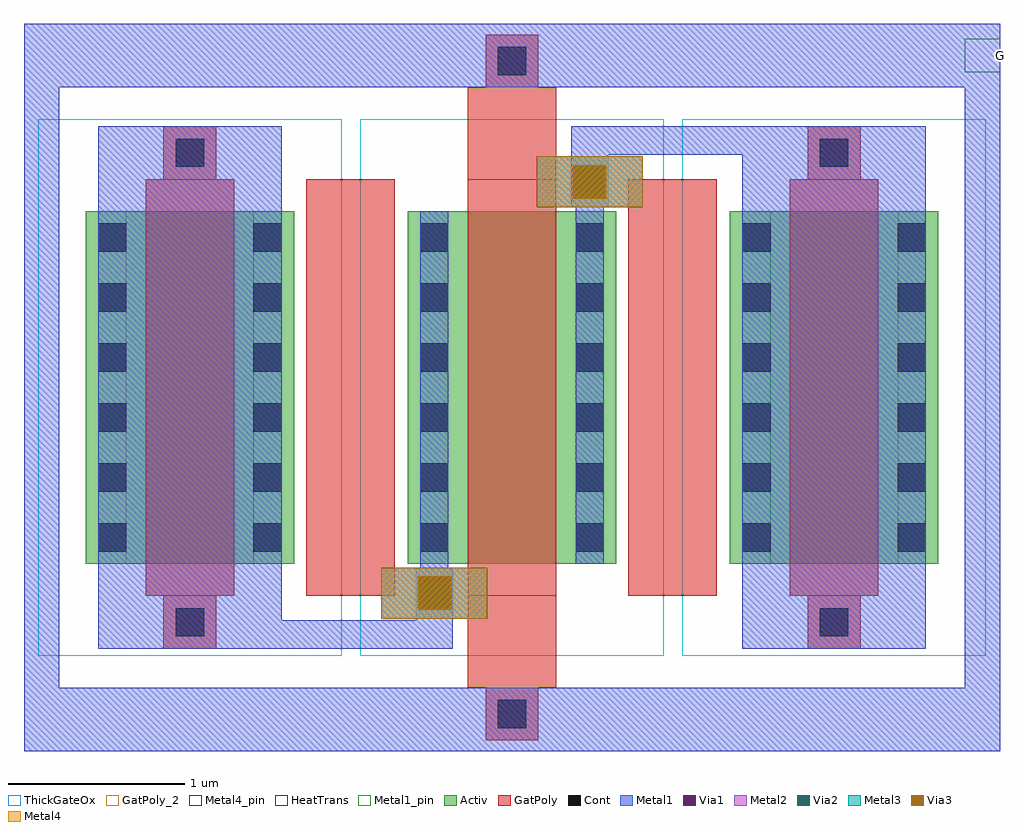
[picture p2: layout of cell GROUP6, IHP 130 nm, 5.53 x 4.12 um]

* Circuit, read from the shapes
.subckt GROUP6 G
XM1 nmosHV_priv20_1/D nmosHV_priv20_1/D nmosHV_priv20_1/D VSUBS sg13_hv_nmos w=2u l=0.5u
XM2 nmosHV_priv20_1/S G nmosHV_priv20_1/D VSUBS sg13_hv_nmos w=2u l=0.5u
XM3 nmosHV_priv20_1/S nmosHV_priv20_1/S nmosHV_priv20_1/S VSUBS sg13_hv_nmos w=2u l=0.5u
.ends

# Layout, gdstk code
import gdstk
lib = gdstk.Library(unit=1e-6, precision=1e-09)
def R(c, l, rs):  # rectangles x0, y0, x1, y1
    for r in rs: c.add(gdstk.rectangle(r[:2], r[2:], *l))
def A(c, l, x, y, w, h, nx, ny, dx, dy):  # array of equal rectangles
    R(c, l, [(x+i*dx, y+j*dy, x+i*dx+w, y+j*dy+h) for i in range(nx) for j in range(ny)])
Activ = (1, 0)
GatPoly = (5, 0)
GatPoly_2 = (5, 2)
Cont = (6, 0)
Metal1 = (8, 0)
Metal1_pin = (8, 2)
Metal2 = (10, 0)
Via1 = (19, 0)
Via2 = (29, 0)
Metal3 = (30, 0)
ThickGateOx = (44, 0)
Via3 = (49, 0)
Metal4 = (50, 0)
Metal4_pin = (50, 2)
HeatTrans = (51, 0)

nmoshv_priv21 = lib.new_cell('nmosHV_priv21')
R(nmoshv_priv21, Activ, [(0,0,0.3,0.3), (0,0,1.18,2), (0.88,0,1.18,0.3)])
R(nmoshv_priv21, GatPoly, [(0.44,-0.48,0.74,-0.18), (0.34,-0.18,0.84,2.18), (0.44,2.18,0.74,2.48)])
R(nmoshv_priv21, GatPoly_2, [(0.34,-0.18,0.84,2.18)])
A(nmoshv_priv21, Cont, 0.07, 0.07, 0.16, 0.16, 1, 6, 0, 0.34)
A(nmoshv_priv21, Cont, 0.95, 0.07, 0.16, 0.16, 1, 6, 0, 0.34)
R(nmoshv_priv21, Cont, [(0.51,-0.41,0.67,-0.25), (0.51,2.25,0.67,2.41)])
R(nmoshv_priv21, Metal1, [(0.07,-0.48,1.11,2.48), (0.07,0,0.23,2), (0.95,0,1.11,2)])
R(nmoshv_priv21, Metal1_pin, [(0.07,0,0.23,2), (0.95,0,1.11,2)])
R(nmoshv_priv21, ThickGateOx, [(-0.27,-0.52,1.45,2.52)])
R(nmoshv_priv21, HeatTrans, [(0.34,-0.18,0.84,2.18)])
nmoshv_priv21.add(gdstk.Label('nmosHV', (0.59,1), layer=63, texttype=0))
nmoshv_priv21.add(gdstk.Label('nmosHV', (0.59,1), layer=51, texttype=0))

nmoshv_priv20 = lib.new_cell('nmosHV_priv20')
R(nmoshv_priv20, Activ, [(0,0,0.3,0.3), (0,0,1.18,2), (0.88,0,1.18,0.3)])
R(nmoshv_priv20, GatPoly, [(0.44,-1,0.74,-0.7), (0.34,-0.7,0.84,-0.18), (0.34,-0.18,0.84,2.18), (0.34,2.18,0.84,2.7), (0.44,2.7,0.74,3)])
R(nmoshv_priv20, GatPoly_2, [(0.34,-0.18,0.84,2.18)])
A(nmoshv_priv20, Cont, 0.07, 0.07, 0.16, 0.16, 1, 6, 0, 0.34)
A(nmoshv_priv20, Cont, 0.95, 0.07, 0.16, 0.16, 1, 6, 0, 0.34)
R(nmoshv_priv20, Cont, [(0.51,-0.93,0.67,-0.77), (0.51,2.77,0.67,2.93)])
R(nmoshv_priv20, Metal1, [(0.455,-1.06,0.725,-0.7), (0.045,-0.31,0.255,-0.02), (0.07,-0.035,0.23,0.015), (0.07,0,0.23,2), (0.95,0,1.11,2), (0.95,1.985,1.11,2.035), (0.925,2.02,1.135,2.31), (0.455,2.7,0.725,3.06)])
R(nmoshv_priv20, Metal1_pin, [(0.07,0,0.23,2), (0.95,0,1.11,2)])
R(nmoshv_priv20, Metal2, [(-0.15,-0.31,0.45,-0.02), (0.05,-0.31,0.25,-0.02), (0.73,2.02,1.33,2.31), (0.93,2.02,1.13,2.31)])
R(nmoshv_priv20, Via1, [(0.055,-0.26,0.245,-0.07), (0.935,2.07,1.125,2.26)])
R(nmoshv_priv20, Via2, [(0.055,-0.26,0.245,-0.07), (0.935,2.07,1.125,2.26)])
R(nmoshv_priv20, Metal3, [(-0.15,-0.31,0.45,-0.02), (0.05,-0.31,0.25,-0.02), (0.73,2.02,1.33,2.31), (0.93,2.02,1.13,2.31)])
R(nmoshv_priv20, ThickGateOx, [(-0.27,-0.52,1.45,2.52)])
R(nmoshv_priv20, Via3, [(0.055,-0.26,0.245,-0.07), (0.935,2.07,1.125,2.26)])
R(nmoshv_priv20, Metal4, [(-0.15,-0.31,0.45,-0.02), (0.05,-0.31,0.25,-0.02), (0.73,2.02,1.33,2.31), (0.93,2.02,1.13,2.31)])
R(nmoshv_priv20, Metal4_pin, [(0.055,-0.26,0.245,-0.07), (0.935,2.07,1.125,2.26)])
R(nmoshv_priv20, HeatTrans, [(0.34,-0.18,0.84,2.18)])
nmoshv_priv20.add(gdstk.Label('nmosHV', (0.59,1), layer=63, texttype=0))
nmoshv_priv20.add(gdstk.Label('nmosHV', (0.59,1), layer=51, texttype=0))
nmoshv_priv20.add(gdstk.Label('S', (1.03,2.165), layer=50, texttype=0))
nmoshv_priv20.add(gdstk.Label('D', (0.15,-0.165), layer=50, texttype=0))

nmoshv_priv22 = lib.new_cell('nmosHV_priv22')
R(nmoshv_priv22, Activ, [(0,0,0.3,0.3), (0,0,1.18,2), (0.88,0,1.18,0.3)])
R(nmoshv_priv22, GatPoly, [(0.44,-0.48,0.74,-0.18), (0.34,-0.18,0.84,2.18), (0.44,2.18,0.74,2.48)])
R(nmoshv_priv22, GatPoly_2, [(0.34,-0.18,0.84,2.18)])
A(nmoshv_priv22, Cont, 0.07, 0.07, 0.16, 0.16, 1, 6, 0, 0.34)
A(nmoshv_priv22, Cont, 0.95, 0.07, 0.16, 0.16, 1, 6, 0, 0.34)
R(nmoshv_priv22, Cont, [(0.51,-0.41,0.67,-0.25), (0.51,2.25,0.67,2.41)])
R(nmoshv_priv22, Metal1, [(0.07,-0.48,1.11,2.48), (0.07,0,0.23,2), (0.95,0,1.11,2)])
R(nmoshv_priv22, Metal1_pin, [(0.07,0,0.23,2), (0.95,0,1.11,2)])
R(nmoshv_priv22, ThickGateOx, [(-0.27,-0.52,1.45,2.52)])
R(nmoshv_priv22, HeatTrans, [(0.34,-0.18,0.84,2.18)])
nmoshv_priv22.add(gdstk.Label('nmosHV', (0.59,1), layer=63, texttype=0))
nmoshv_priv22.add(gdstk.Label('nmosHV', (0.59,1), layer=51, texttype=0))

group6 = lib.new_cell('GROUP6')
R(group6, GatPoly, [(111.045,146.56,111.545,148.92), (112.87,146.56,113.37,148.92)])
R(group6, Metal1, [(109.445,145.68,114.975,146.04), (109.445,145.68,109.645,149.8), (114.775,145.68,114.975,149.8), (110.905,146.26,111.875,146.42), (111.665,146.42,111.875,146.72), (112.545,148.76,112.755,149.06), (112.545,149.06,113.515,149.22), (109.445,149.44,114.975,149.8)])
R(group6, Metal1_pin, [(114.775,149.525,114.975,149.715)])
group6.add(gdstk.Reference(nmoshv_priv21, (113.445,146.74)))
group6.add(gdstk.Reference(nmoshv_priv20, (111.62,146.74)))
group6.add(gdstk.Reference(nmoshv_priv22, (109.795,146.74)))
group6.add(gdstk.Label('G', (114.975,149.62), layer=8, texttype=0))
group6.add(gdstk.Label('XMN6', (111.61,150.1), layer=1000, texttype=0))
group6.add(gdstk.Label('XMN1', (112.21,150.1), layer=1000, texttype=0))
group6.add(gdstk.Label('XMN5', (112.81,150.1), layer=1000, texttype=0))

lib.write_gds('GROUP6.gds')
